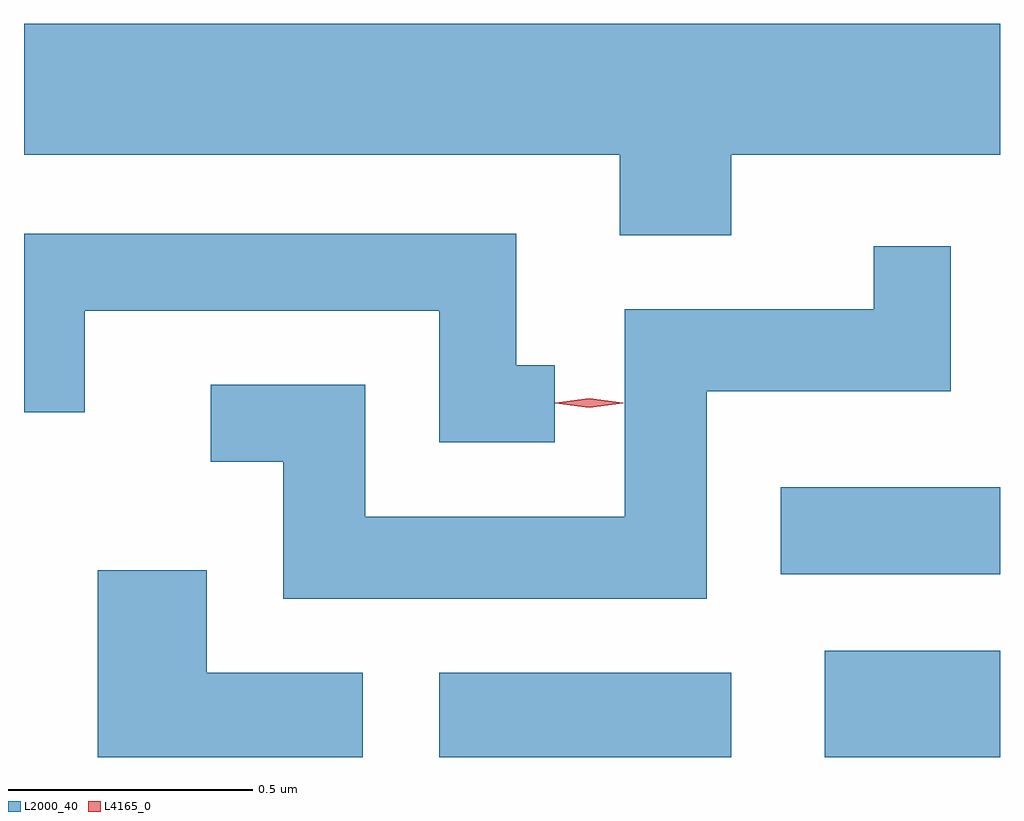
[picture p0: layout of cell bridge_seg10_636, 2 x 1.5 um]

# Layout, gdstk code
import gdstk
lib = gdstk.Library(unit=1e-6, precision=1e-09)
def R(c, l, rs):  # rectangles x0, y0, x1, y1
    for r in rs: c.add(gdstk.rectangle(r[:2], r[2:], *l))
def P(c, l, *ps):  # polygons
    for p in ps: c.add(gdstk.Polygon(p, *l))
L2000_40 = (2000, 40)
L4165_0 = (4165, 0)

bridge_seg10_636 = lib.new_cell('bridge_seg10_636')
R(bridge_seg10_636, L2000_40, [(703.341,2134.881,703.939,2135.054), (704.131,2134.881,704.49,2135.099), (704.041,2135.256,704.49,2135.434)])
P(bridge_seg10_636, L2000_40, [(703.939,2136.116),(704.49,2136.116),(704.49,2136.384),(702.49,2136.384),(702.49,2136.116),(703.711,2136.116),(703.711,2135.951),(703.939,2135.951)],
  [(703.578,2135.684),(703.499,2135.684),(703.499,2135.954),(702.49,2135.954),(702.49,2135.588),(702.614,2135.588),(702.614,2135.796),(703.341,2135.796),(703.341,2135.526),(703.578,2135.526)],
  [(703.889,2135.631),(704.389,2135.631),(704.389,2135.928),(704.231,2135.928),(704.231,2135.799),(703.721,2135.799),(703.721,2135.374),(703.189,2135.374),(703.189,2135.644),(702.873,2135.644),(702.873,2135.486),(703.021,2135.486),(703.021,2135.206),(703.889,2135.206)],
  [(703.184,2135.054),(702.864,2135.054),(702.864,2135.264),(702.641,2135.264),(702.641,2134.881),(703.184,2134.881)])
P(bridge_seg10_636, L4165_0, [(703.648,2135.597),(703.579,2135.606),(703.579,2135.607),(703.579,2135.607),(703.648,2135.617),(703.718,2135.607),(703.718,2135.607),(703.718,2135.606)])

lib.write_gds('bridge_seg10_636.gds')
